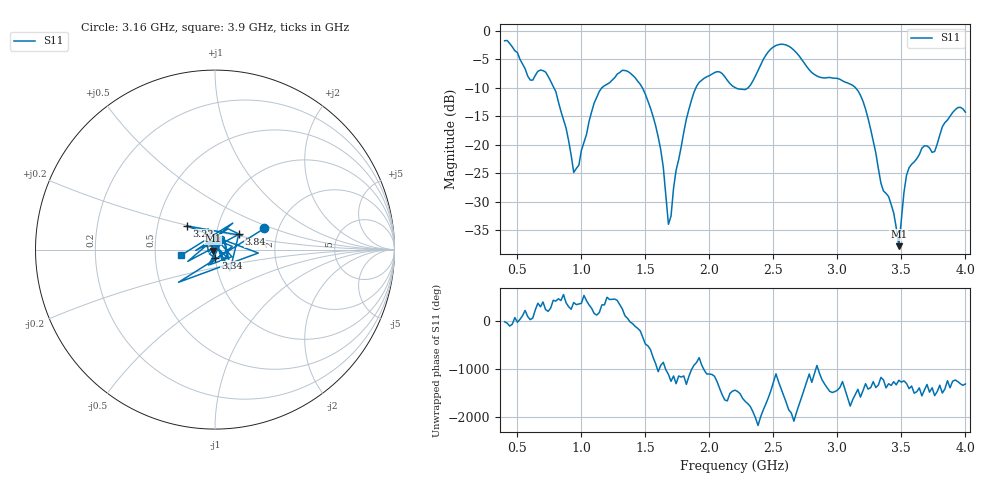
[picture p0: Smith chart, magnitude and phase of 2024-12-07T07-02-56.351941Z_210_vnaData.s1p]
!Created with skrf (http://scikit-rf.org).
# Hz S RI R 50.0
!freq ReS11 ImS11
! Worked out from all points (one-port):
!   181 points, 400 MHz to 4 GHz, reference 50 ohm
!   lowest |S11| = -37.8 dB at 3.48 GHz (marker M1), VSWR 1.03, Z = 48.9 - j0.662 ohm
!   |S11| at or under -10 dB: 785.7 MHz to 1.158 GHz (372.8 MHz wide, 38.3 % of centre); 1.477 GHz to 1.894 GHz (417.5 MHz wide, 24.8 % of centre); 3.143 GHz to end of sweep (the widest 3 of 4)
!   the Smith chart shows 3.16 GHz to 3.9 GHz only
!   S11 on the Smith chart (normalised r, x): 3.16 GHz: 1.69, +0.44; 3.22 GHz: 0.70, +0.19; 3.34 GHz: 1.00, -0.09; 3.84 GHz: 1.28, +0.22; 3.9 GHz: 0.68, -0.05
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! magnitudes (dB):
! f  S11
! 400 MHz  -1.7
! 600 MHz  -8.6
! 720 MHz  -7.2
! 860 MHz  -15.5
! 940 MHz  -24.8
! 1.14 GHz  -10.6
! 1.3 GHz  -7.3
! 1.54 GHz  -13.6
! 1.62 GHz  -20.9
! 1.68 GHz  -33.9
! 1.76 GHz  -22.6
! 1.92 GHz  -9.0
! 2.2 GHz  -9.9
! 2.3 GHz  -10.0
! 2.5 GHz  -2.8
! 2.66 GHz  -3.4
! 3.1 GHz  -9.3
! 3.16 GHz  -10.5
! 3.22 GHz  -13.7
! 3.34 GHz  -26.7
! 3.44 GHz  -32.0
! 3.48 GHz  -37.8
! 3.52 GHz  -28.4
! 3.56 GHz  -24.0
! 3.76 GHz  -21.2
! 3.84 GHz  -16.1
! 3.9 GHz  -14.3
! 4 GHz  -14.2
